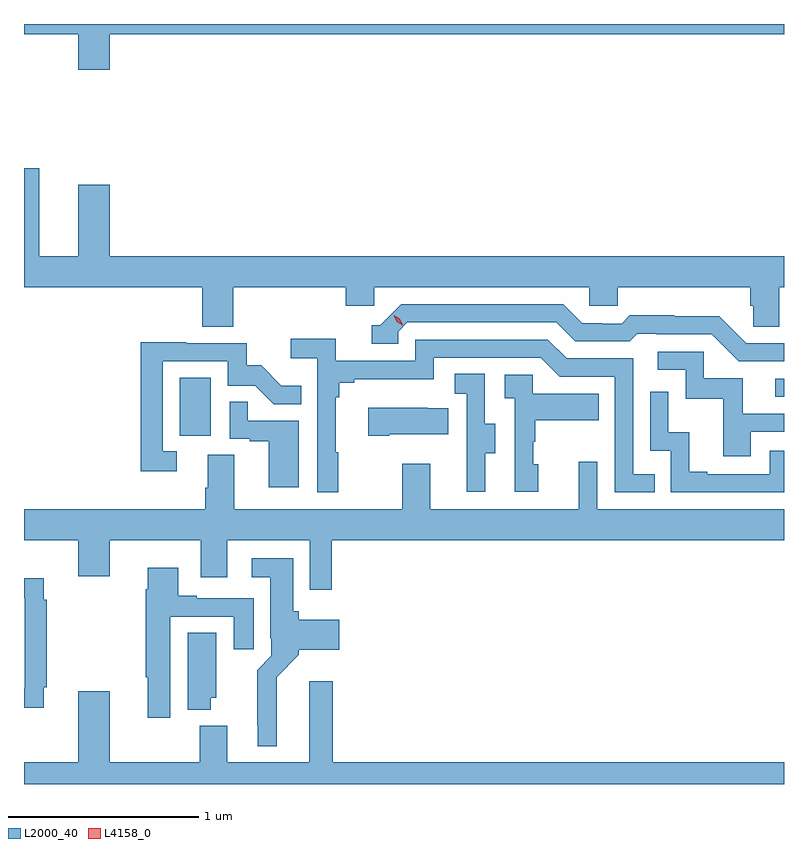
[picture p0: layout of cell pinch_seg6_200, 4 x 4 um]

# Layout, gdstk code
import gdstk
lib = gdstk.Library(unit=1e-6, precision=1e-09)
def R(c, l, rs):  # rectangles x0, y0, x1, y1
    for r in rs: c.add(gdstk.rectangle(r[:2], r[2:], *l))
def P(c, l, *ps):  # polygons
    for p in ps: c.add(gdstk.Polygon(p, *l))
L2000_40 = (2000, 40)
L4158_0 = (4158, 0)

pinch_seg6_200 = lib.new_cell('pinch_seg6_200')
R(pinch_seg6_200, L2000_40, [(1076.63,918.582,1076.794,918.889), (1079.763,918.789,1079.81,918.882)])
P(pinch_seg6_200, L2000_40, [(1076.26,920.696),(1079.81,920.696),(1079.81,920.75),(1075.81,920.75),(1075.81,920.696),(1076.096,920.696),(1076.096,920.508),(1076.26,920.508)],
  [(1076.912,919.364),(1077.503,919.364),(1077.503,919.266),(1077.654,919.266),(1077.654,919.364),(1078.785,919.364),(1078.785,919.266),(1078.935,919.266),(1078.935,919.364),(1079.633,919.364),(1079.633,919.266),(1079.647,919.266),(1079.647,919.156),(1079.784,919.156),(1079.784,919.364),(1079.81,919.364),(1079.81,919.528),(1076.26,919.528),(1076.26,919.903),(1076.096,919.903),(1076.096,919.528),(1075.891,919.528),(1075.891,919.99),(1075.81,919.99),(1075.81,919.364),(1076.747,919.364),(1076.747,919.156),(1076.912,919.156)],
  [(1079.81,919.071),(1079.61,919.071),(1079.468,919.213),(1079.232,919.213),(1079.232,919.216),(1078.999,919.216),(1078.957,919.173),(1078.854,919.173),(1078.854,919.176),(1078.747,919.176),(1078.648,919.275),(1077.795,919.275),(1077.684,919.164),(1077.641,919.164),(1077.641,919.068),(1077.78,919.068),(1077.78,919.131),(1077.828,919.179),(1078.611,919.179),(1078.71,919.08),(1078.999,919.08),(1079.038,919.119),(1079.137,919.119),(1079.137,919.116),(1079.43,919.116),(1079.571,918.975),(1079.81,918.975)],
  [(1077.463,918.497),(1077.451,918.497),(1077.451,918.785),(1077.47,918.785),(1077.47,918.862),(1077.547,918.862),(1077.547,918.881),(1077.966,918.881),(1077.966,918.993),(1078.53,918.993),(1078.629,918.894),(1078.92,918.894),(1078.92,918.285),(1079.129,918.285),(1079.129,918.381),(1079.016,918.381),(1079.016,918.99),(1078.666,918.99),(1078.567,919.089),(1077.87,919.089),(1077.87,918.978),(1077.452,918.978),(1077.452,919.094),(1077.213,919.094),(1077.213,918.992),(1077.354,918.992),(1077.354,918.285),(1077.463,918.285)],
  [(1076.614,918.501),(1076.541,918.501),(1076.541,918.975),(1076.883,918.975),(1076.883,918.846),(1077.027,918.846),(1077.125,918.748),(1077.269,918.748),(1077.269,918.847),(1077.165,918.847),(1077.058,918.954),(1076.982,918.954),(1076.982,919.071),(1076.663,919.071),(1076.663,919.076),(1076.425,919.076),(1076.425,918.396),(1076.614,918.396)],
  [(1079.635,918.603),(1079.81,918.603),(1079.81,918.699),(1079.593,918.699),(1079.593,918.885),(1079.388,918.885),(1079.388,919.026),(1079.145,919.026),(1079.145,918.93),(1079.292,918.93),(1079.292,918.777),(1079.491,918.777),(1079.491,918.474),(1079.635,918.474)],
  [(1078.237,918.49),(1078.291,918.49),(1078.291,918.645),(1078.236,918.645),(1078.236,918.908),(1078.077,918.908),(1078.077,918.805),(1078.14,918.805),(1078.14,918.501),(1078.139,918.501),(1078.139,918.288),(1078.237,918.288)],
  [(1078.516,918.432),(1078.491,918.432),(1078.491,918.551),(1078.501,918.551),(1078.501,918.665),(1078.835,918.665),(1078.835,918.805),(1078.488,918.805),(1078.488,918.903),(1078.341,918.903),(1078.341,918.779),(1078.392,918.779),(1078.392,918.288),(1078.516,918.288)],
  [(1079.81,918.504),(1079.736,918.504),(1079.736,918.381),(1079.407,918.381),(1079.407,918.394),(1079.312,918.394),(1079.312,918.602),(1079.202,918.602),(1079.202,918.814),(1079.106,918.814),(1079.106,918.504),(1079.214,918.504),(1079.214,918.285),(1079.81,918.285)],
  [(1077.256,918.663),(1076.987,918.663),(1076.987,918.761),(1076.892,918.761),(1076.892,918.567),(1076.999,918.567),(1076.999,918.555),(1077.098,918.555),(1077.098,918.312),(1077.256,918.312)],
  [(1077.733,918.59),(1078.043,918.59),(1078.043,918.727),(1077.935,918.727),(1077.935,918.73),(1077.621,918.73),(1077.621,918.583),(1077.733,918.583)],
  [(1076.881,918.032),(1077.315,918.032),(1077.315,917.772),(1077.431,917.772),(1077.431,918.032),(1079.81,918.032),(1079.81,918.196),(1078.827,918.196),(1078.827,918.445),(1078.73,918.445),(1078.73,918.196),(1077.949,918.196),(1077.949,918.436),(1077.802,918.436),(1077.802,918.196),(1076.917,918.196),(1076.917,918.482),(1076.777,918.482),(1076.777,918.308),(1076.765,918.308),(1076.765,918.196),(1075.81,918.196),(1075.81,918.032),(1076.096,918.032),(1076.096,917.844),(1076.26,917.844),(1076.26,918.032),(1076.741,918.032),(1076.741,917.838),(1076.881,917.838)],
  [(1077.139,917.312),(1077.257,917.43),(1077.257,917.456),(1077.469,917.456),(1077.469,917.614),(1077.257,917.614),(1077.257,917.658),(1077.226,917.658),(1077.226,917.938),(1077.009,917.938),(1077.009,917.837),(1077.107,917.837),(1077.107,917.518),(1077.111,917.518),(1077.111,917.424),(1077.037,917.35),(1077.037,917.059),(1077.041,917.059),(1077.041,916.949),(1077.139,916.949)],
  [(1076.581,917.631),(1076.915,917.631),(1076.915,917.46),(1077.019,917.46),(1077.019,917.727),(1076.719,917.727),(1076.719,917.74),(1076.623,917.74),(1076.623,917.887),(1076.462,917.887),(1076.462,917.774),(1076.45,917.774),(1076.45,917.312),(1076.462,917.312),(1076.462,917.1),(1076.581,917.1)],
  [(1075.913,917.26),(1075.931,917.26),(1075.931,917.72),(1075.913,917.72),(1075.913,917.833),(1075.81,917.833),(1075.81,917.727),(1075.815,917.727),(1075.815,917.253),(1075.81,917.253),(1075.81,917.152),(1075.913,917.152)],
  [(1076.794,917.205),(1076.821,917.205),(1076.821,917.546),(1076.672,917.546),(1076.672,917.141),(1076.794,917.141)],
  [(1079.81,916.864),(1077.434,916.864),(1077.434,917.29),(1077.311,917.29),(1077.311,916.864),(1076.881,916.864),(1076.881,917.056),(1076.734,917.056),(1076.734,916.864),(1076.26,916.864),(1076.26,917.239),(1076.096,917.239),(1076.096,916.864),(1075.81,916.864),(1075.81,916.75),(1079.81,916.75)])
P(pinch_seg6_200, L4158_0, [(1077.804,919.165),(1077.773,919.184),(1077.756,919.216),(1077.756,919.217),(1077.756,919.217),(1077.787,919.198),(1077.804,919.165),(1077.804,919.165)])

lib.write_gds('pinch_seg6_200.gds')
